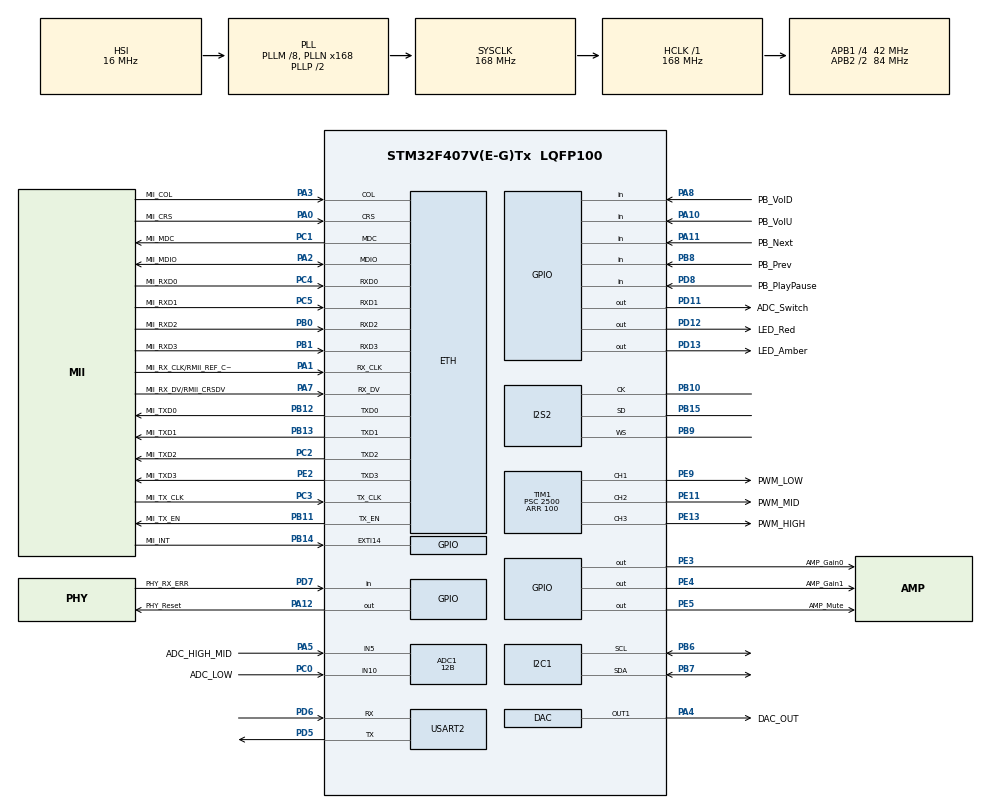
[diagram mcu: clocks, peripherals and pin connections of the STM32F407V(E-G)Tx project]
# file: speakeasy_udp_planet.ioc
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ADC1.Channel-10\#ChannelRegularConversion=ADC_CHANNEL_10
ADC1.Channel-9\#ChannelRegularConversion=ADC_CHANNEL_5
ADC1.ClockPrescaler=ADC_CLOCK_SYNC_PCLK_DIV4
ADC1.ContinuousConvMode=ENABLE
ADC1.DMAContinuousRequests=ENABLE
ADC1.DataAlign=ADC_DATAALIGN_RIGHT
ADC1.DiscontinuousConvMode=DISABLE
ADC1.EOCSelection=ADC_EOC_SINGLE_CONV
ADC1.EnableAnalogWatchDog=false
ADC1.ExternalTrigConv=ADC_SOFTWARE_START
ADC1.ExternalTrigConvEdge=ADC_EXTERNALTRIGCONVEDGE_NONE
ADC1.InjNumberOfConversion=0
ADC1.NbrOfConversion=2
ADC1.NbrOfConversionFlag=1
ADC1.Rank-10\#ChannelRegularConversion=2
ADC1.Rank-9\#ChannelRegularConversion=1
ADC1.Resolution=ADC_RESOLUTION_12B
ADC1.SamplingTime-10\#ChannelRegularConversion=ADC_SAMPLETIME_480CYCLES
ADC1.SamplingTime-9\#ChannelRegularConversion=ADC_SAMPLETIME_480CYCLES
ADC1.ScanConvMode=ENABLE
ADC1.master=1
Dma.ADC1.1.Direction=DMA_PERIPH_TO_MEMORY
Dma.ADC1.1.FIFOMode=DMA_FIFOMODE_DISABLE
Dma.ADC1.1.Instance=DMA2_Stream0
Dma.ADC1.1.MemDataAlignment=DMA_MDATAALIGN_HALFWORD
Dma.ADC1.1.MemInc=DMA_MINC_ENABLE
Dma.ADC1.1.Mode=DMA_CIRCULAR
Dma.ADC1.1.PeriphDataAlignment=DMA_PDATAALIGN_HALFWORD
Dma.ADC1.1.PeriphInc=DMA_PINC_DISABLE
Dma.ADC1.1.Priority=DMA_PRIORITY_LOW
Dma.Request0=SPI2_RX
Dma.Request1=ADC1
Dma.SPI2_RX.0.Direction=DMA_PERIPH_TO_MEMORY
Dma.SPI2_RX.0.FIFOMode=DMA_FIFOMODE_DISABLE
Dma.SPI2_RX.0.Instance=DMA1_Stream3
Dma.SPI2_RX.0.MemDataAlignment=DMA_MDATAALIGN_BYTE
Dma.SPI2_RX.0.MemInc=DMA_MINC_ENABLE
Dma.SPI2_RX.0.Mode=DMA_CIRCULAR
Dma.SPI2_RX.0.PeriphDataAlignment=DMA_PDATAALIGN_BYTE
Dma.SPI2_RX.0.PeriphInc=DMA_PINC_DISABLE
Dma.SPI2_RX.0.Priority=DMA_PRIORITY_LOW
ETH.MACAddr=00\:00\:00\:00\:00\:03
ETH.MediaInterface=ETH_MEDIA_INTERFACE_MII
I2S2.AudioFreq=I2S_AUDIOFREQ_32K
I2S2.CPOL=I2S_CPOL_HIGH
I2S2.ErrorAudioFreq=-0.35 %
I2S2.FullDuplexMode=I2S_FULLDUPLEXMODE_DISABLE
I2S2.Instance=SPI$Index
I2S2.Mode=I2S_MODE_MASTER_RX
I2S2.RealAudioFreq=31.887 KHz
I2S2.Standard=I2S_STANDARD_MSB
I2S2.VirtualMode=I2S_MODE_MASTER
LWIP.GATEWAY_ADDRESS=192.168.000.001
LWIP.IP_ADDRESS=192.168.000.003
LWIP.LWIP_DHCP=0
LWIP.LWIP_NETIF_LINK_CALLBACK=1
LWIP.LWIP_NETIF_STATUS_CALLBACK=1
LWIP.LWIP_TCP=0
LWIP.MEMP_NUM_UDP_PCB=2
LWIP.NETMASK_ADDRESS=255.255.255.000
LWIP.Version=v2.0.3_Cube
Mcu.Family=STM32F4
Mcu.Name=STM32F407V(E-G)Tx
Mcu.Package=LQFP100
NVIC.DMA1_Stream3_IRQn=true\:0\:0\:true\:false\:true\:false
NVIC.DMA2_Stream0_IRQn=true\:0\:0\:false\:false\:true\:false
NVIC.ETH_IRQn=true\:0\:0\:false\:false\:true\:true
NVIC.I2C1_ER_IRQn=true\:0\:0\:false\:false\:true\:true
NVIC.I2C1_EV_IRQn=true\:0\:0\:false\:false\:true\:true
NVIC.PriorityGroup=NVIC_PRIORITYGROUP_4
NVIC.SPI2_IRQn=true\:0\:0\:false\:false\:true\:true
NVIC.TIM2_IRQn=true\:0\:0\:false\:false\:true\:true
NVIC.TIM3_IRQn=true\:0\:0\:false\:false\:true\:true
NVIC.TIM4_IRQn=true\:0\:0\:false\:false\:true\:true
NVIC.USART2_IRQn=true\:0\:0\:false\:false\:true\:true
PA0-WKUP.GPIO_Label=MII_CRS
PA0-WKUP.Mode=MII
PA0-WKUP.Signal=ETH_CRS
PA1.GPIO_Label=MII_RX_CLK/RMII_REF_CLK
PA1.Mode=MII
PA1.Signal=ETH_RX_CLK
PA10.GPIO_Label=PB_VolU
PA10.Signal=GPIO_Input
PA11.GPIO_Label=PB_Next
PA11.Signal=GPIO_Input
PA12.GPIO_Label=PHY_Reset
PA12.PinState=GPIO_PIN_SET
PA12.Signal=GPIO_Output
PA13.Mode=Serial_Wire
PA13.Signal=SYS_JTMS-SWDIO
PA14.Mode=Serial_Wire
PA14.Signal=SYS_JTCK-SWCLK
PA2.GPIO_Label=MII_MDIO
PA2.GPIO_PuPd=GPIO_NOPULL
PA2.Mode=MII
PA2.Signal=ETH_MDIO
PA3.GPIO_Label=MII_COL
PA3.Mode=MII
PA3.Signal=ETH_COL
PA4.GPIO_Label=DAC_OUT
PA4.Signal=COMP_DAC1_group
PA5.GPIO_Label=ADC_HIGH_MID
PA5.Signal=ADCx_IN5
PA7.GPIO_Label=MII_RX_DV/RMII_CRSDV
PA7.Mode=MII
PA7.Signal=ETH_RX_DV
PA8.GPIO_Label=PB_VolD
PA8.Signal=GPIO_Input
PB0.GPIO_Label=MII_RXD2
PB0.Mode=MII
PB0.Signal=ETH_RXD2
PB1.GPIO_Label=MII_RXD3
PB1.Mode=MII
PB1.Signal=ETH_RXD3
PB10.Mode=Half_Duplex_Master
PB10.Signal=I2S2_CK
PB11.GPIO_Label=MII_TX_EN
PB11.Mode=MII
PB11.Signal=ETH_TX_EN
PB12.GPIO_Label=MII_TXD0
PB12.Mode=MII
PB12.Signal=ETH_TXD0
PB13.GPIO_Label=MII_TXD1
PB13.Mode=MII
PB13.Signal=ETH_TXD1
PB14.GPIO_Label=MII_INT
PB14.Signal=GPXTI14
PB15.Mode=Half_Duplex_Master
PB15.Signal=I2S2_SD
PB6.Mode=I2C
PB6.Signal=I2C1_SCL
PB7.Mode=I2C
PB7.Signal=I2C1_SDA
PB8.GPIO_Label=PB_Prev
PB8.Signal=GPIO_Input
PB9.Mode=Half_Duplex_Master
PB9.Signal=I2S2_WS
PC0.GPIO_Label=ADC_LOW
PC0.Signal=ADCx_IN10
PC1.GPIO_Label=MII_MDC
PC1.Mode=MII
PC1.Signal=ETH_MDC
PC2.GPIO_Label=MII_TXD2
PC2.Mode=MII
PC2.Signal=ETH_TXD2
PC3.GPIO_Label=MII_TX_CLK
PC3.Mode=MII
PC3.Signal=ETH_TX_CLK
PC4.GPIO_Label=MII_RXD0
PC4.Mode=MII
PC4.Signal=ETH_RXD0
PC5.GPIO_Label=MII_RXD1
PC5.Mode=MII
PC5.Signal=ETH_RXD1
PD11.GPIO_Label=ADC_Switch
PD11.Signal=GPIO_Output
PD12.GPIO_Label=LED_Red
PD12.Signal=GPIO_Output
PD13.GPIO_Label=LED_Amber
PD13.Signal=GPIO_Output
PD5.Mode=Asynchronous
PD5.Signal=USART2_TX
PD6.Mode=Asynchronous
PD6.Signal=USART2_RX
PD7.GPIO_Label=PHY_RX_ERR
PD7.Signal=GPIO_Input
PD8.GPIO_Label=PB_PlayPause
PD8.Signal=GPIO_Input
PE11.GPIO_Label=PWM_MID
PE11.Signal=S_TIM1_CH2
PE13.GPIO_Label=PWM_HIGH
PE13.Signal=S_TIM1_CH3
PE2.GPIO_Label=MII_TXD3
PE2.Mode=MII
PE2.Signal=ETH_TXD3
PE3.GPIO_Label=AMP_Gain0
PE3.Signal=GPIO_Output
PE4.GPIO_Label=AMP_Gain1
PE4.Signal=GPIO_Output
PE5.GPIO_Label=AMP_Mute
PE5.Signal=GPIO_Output
PE9.GPIO_Label=PWM_LOW
PE9.Signal=S_TIM1_CH1
ProjectManager.HeapSize=0x200
ProjectManager.StackSize=0x400
ProjectManager.TargetToolchain=SW4STM32
RCC.48MHZClocksFreq_Value=84000000
RCC.AHBFreq_Value=168000000
RCC.APB1CLKDivider=RCC_HCLK_DIV4
RCC.APB1Freq_Value=42000000
RCC.APB1TimFreq_Value=84000000
RCC.APB2CLKDivider=RCC_HCLK_DIV2
RCC.APB2Freq_Value=84000000
RCC.APB2TimFreq_Value=168000000
RCC.CortexFreq_Value=168000000
RCC.HCLKFreq_Value=168000000
RCC.HSE_VALUE=8000000
RCC.HSI_VALUE=16000000
RCC.LSE_VALUE=32768
RCC.PLLI2SN=50
RCC.PLLM=8
RCC.PLLN=168
RCC.SYSCLKFreq_VALUE=168000000
RCC.SYSCLKSource=RCC_SYSCLKSOURCE_PLLCLK
RCC.VCOOutputFreq_Value=336000000
SH.ADCx_IN10.0=ADC1_IN10,IN10
SH.ADCx_IN5.0=ADC1_IN5,IN5
SH.COMP_DAC1_group.0=DAC_OUT1,DAC_OUT1
SH.S_TIM1_CH1.0=TIM1_CH1,PWM Generation1 CH1
SH.S_TIM1_CH2.0=TIM1_CH2,PWM Generation2 CH2
SH.S_TIM1_CH3.0=TIM1_CH3,PWM Generation3 CH3
TIM1.Channel-PWM\ Generation1\ CH1=TIM_CHANNEL_1
TIM1.Channel-PWM\ Generation2\ CH2=TIM_CHANNEL_2
TIM1.Channel-PWM\ Generation3\ CH3=TIM_CHANNEL_3
TIM1.Period=100
TIM1.Prescaler=2500
TIM2.Period=1
TIM2.Prescaler=956
TIM3.Period=88
TIM3.Prescaler=953
TIM4.Period=1
TIM4.Prescaler=2618
USART2.VirtualMode=VM_ASYNC
VP_LWIP_VS_Enabled.Mode=Enabled
VP_TIM1_VS_ClockSourceINT.Mode=Internal
VP_TIM2_VS_ClockSourceINT.Mode=Internal
VP_TIM3_VS_ClockSourceINT.Mode=Internal
VP_TIM4_VS_ClockSourceINT.Mode=Internal
board=custom

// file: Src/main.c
/**
  ******************************************************************************
  * @file           : main.c
  * @brief          : Main program body
  ******************************************************************************
  * This notice applies to any and all portions of this file
  * that are not between comment pairs USER CODE BEGIN and
  * USER CODE END. Other portions of this file, whether
  * inserted by the user or by software development tools
  * are owned by their respective copyright owners.
  *
  * Copyright (c) 2018 STMicroelectronics International N.V.
  * All rights reserved.
  *
  * Redistribution and use in source and binary forms, with or without
  * modification, are permitted, provided that the following conditions are met:
  *
  * 1. Redistribution of source code must retain the above copyright notice,
  *    this list of conditions and the following disclaimer.
  * 2. Redistributions in binary form must reproduce the above copyright notice,
  *    this list of conditions and the following disclaimer in the documentation
  *    and/or other materials provided with the distribution.
  * 3. Neither the name of STMicroelectronics nor the names of other
  *    contributors to this software may be used to endorse or promote products
  *    derived from this software without specific written permission.
  * 4. This software, including modifications and/or derivative works of this
  *    software, must execute solely and exclusively on microcontroller or
  *    microprocessor devices manufactured by or for STMicroelectronics.
  * 5. Redistribution and use of this software other than as permitted under
  *    this license is void and will automatically terminate your rights under
  *    this license.
  *
  * THIS SOFTWARE IS PROVIDED BY STMICROELECTRONICS AND CONTRIBUTORS "AS IS"
  * AND ANY EXPRESS, IMPLIED OR STATUTORY WARRANTIES, INCLUDING, BUT NOT
  * LIMITED TO, THE IMPLIED WARRANTIES OF MERCHANTABILITY, FITNESS FOR A
  * PARTICULAR PURPOSE AND NON-INFRINGEMENT OF THIRD PARTY INTELLECTUAL PROPERTY
  * RIGHTS ARE DISCLAIMED TO THE FULLEST EXTENT PERMITTED BY LAW. IN NO EVENT
  * SHALL STMICROELECTRONICS OR CONTRIBUTORS BE LIABLE FOR ANY DIRECT, INDIRECT,
  * INCIDENTAL, SPECIAL, EXEMPLARY, OR CONSEQUENTIAL DAMAGES (INCLUDING, BUT NOT
  * LIMITED TO, PROCUREMENT OF SUBSTITUTE GOODS OR SERVICES; LOSS OF USE, DATA,
  * OR PROFITS; OR BUSINESS INTERRUPTION) HOWEVER CAUSED AND ON ANY THEORY OF
  * LIABILITY, WHETHER IN CONTRACT, STRICT LIABILITY, OR TORT (INCLUDING
  * NEGLIGENCE OR OTHERWISE) ARISING IN ANY WAY OUT OF THE USE OF THIS SOFTWARE,
  * EVEN IF ADVISED OF THE POSSIBILITY OF SUCH DAMAGE.
  *
  ******************************************************************************
  */
#include "main.h"
#include "stm32f4xx_hal.h"
#include "lwip.h"

/* USER CODE BEGIN Includes */
#include "udp_planet.h"
/* USER CODE END Includes */

ADC_HandleTypeDef hadc1;
DMA_HandleTypeDef hdma_adc1;

DAC_HandleTypeDef hdac;

I2C_HandleTypeDef hi2c1;

I2S_HandleTypeDef hi2s2;
DMA_HandleTypeDef hdma_spi2_rx;

TIM_HandleTypeDef htim1;
TIM_HandleTypeDef htim2;
TIM_HandleTypeDef htim3;
TIM_HandleTypeDef htim4;

UART_HandleTypeDef huart2;

/* USER CODE BEGIN PV */
/* Private variables ---------------------------------------------------------*/

// timers
uint32_t msCount = 0;
uint8_t started = 0;

// button debounce
uint8_t buttonPress[5] = {0, 0, 0, 0, 0};
uint8_t buttonPrev[5] = {0, 0, 0, 0, 0};

// ethernet
extern struct netif gnetif;
uint8_t rxDone = 0;
uint16_t playbackControl = NOP;

// audio
uint8_t playbackStarted = 0;
uint8_t zeroReceived = 0;
uint8_t bufferReceived[10];
uint8_t playing = 1;
uint16_t * rxData;
uint16_t rxBuffer[10 * BUFF_SIZE];
uint16_t rxIndex = 0;
uint16_t playbackIndex = 0;
uint16_t muteCount = 0;
uint16_t muteTrue = 1;

// begin ryan
// lights
int convertLow = 0;
int redOffset = 450;
int greenOffset = 800;
int blueOffset = 300;
uint16_t adcData[2];
/* USER CODE END PV */

void SystemClock_Config(void);
static void MX_GPIO_Init(void);
static void MX_DMA_Init(void);
static void MX_DAC_Init(void);
static void MX_I2C1_Init(void);
static void MX_I2S2_Init(void);
static void MX_TIM1_Init(void);
static void MX_USART2_UART_Init(void);
static void MX_TIM2_Init(void);
static void MX_TIM3_Init(void);
static void MX_TIM4_Init(void);
static void MX_ADC1_Init(void);

void HAL_TIM_MspPostInit(TIM_HandleTypeDef *htim);

/* USER CODE BEGIN PFP */
/* Private function prototypes -----------------------------------------------*/
void debounceButton();
void checkButtonPress();
void checkRxData();
void updatePWM();
/* USER CODE END PFP */

/* USER CODE BEGIN 0 */
void HAL_TIM_PeriodElapsedCallback(TIM_HandleTypeDef * htim) {
	if (htim->Instance == TIM2) {
		uint16_t checkIndex = playbackIndex / BUFF_SIZE;
		if (checkIndex < 6) {
			checkIndex += 10;
		}
		if (playbackStarted) {
			if (bufferReceived[checkIndex - 6] && playbackStarted) {
				// DAC output
				if (rxBuffer[playbackIndex] > 500) {	// fix this or check it's still needed, maybe remove reset
					if (rxBuffer[playbackIndex] > 2100) {
						muteTrue = 0;
					}
					HAL_DAC_SetValue(&hdac, DAC_CHANNEL_1, DAC_ALIGN_12B_R, rxBuffer[playbackIndex++]);
				}
				else {
					playbackIndex++;
				}
				uint16_t resetIndex = playbackIndex;
				if (resetIndex < 2) {
					resetIndex += 10*BUFF_SIZE;
				}
				rxBuffer[resetIndex - 2] = 0x00;
				if (playbackIndex % BUFF_SIZE == 0) {
					// playback done with packet, so mark as not received
					bufferReceived[(playbackIndex - 1) / BUFF_SIZE]	= 0;
					if (muteTrue) {
						muteCount++;
					}
					else {
						muteCount = 0;
					}
					muteTrue = 1;
					HAL_GPIO_WritePin(AMP_Mute_GPIO_Port, AMP_Mute_Pin, muteCount < 5);
				}
				if (playbackIndex == 10 * BUFF_SIZE) {
					playbackIndex = 0;
				}
			}
		}
	}
	else if (htim->Instance == TIM3) {
		debounceButton();
		if (msCount % 50 == 0) {
			updatePWM();
		}
		if (++msCount == 1000) {
			msCount = 0;
			if (!started) {
				started = 1;
				HAL_GPIO_WritePin(LED_Red_GPIO_Port, LED_Red_Pin, 0);
				HAL_GPIO_WritePin(LED_Amber_GPIO_Port, LED_Amber_Pin, 0);
			}
		}
	}
}

void debounceButton() {
	uint8_t buttonIndex = msCount % 5;
	uint8_t buttonCurrent;
	switch (buttonIndex) {
		case 0:
			buttonCurrent = HAL_GPIO_ReadPin(PB_VolD_GPIO_Port, PB_VolD_Pin);
			break;
		case 1:
			buttonCurrent = HAL_GPIO_ReadPin(PB_Prev_GPIO_Port, PB_Prev_Pin);
			break;
		case 2:
			buttonCurrent = HAL_GPIO_ReadPin(PB_PlayPause_GPIO_Port, PB_PlayPause_Pin);
			break;
		case 3:
			buttonCurrent = HAL_GPIO_ReadPin(PB_Next_GPIO_Port, PB_Next_Pin);
			break;
		case 4:
			buttonCurrent = HAL_GPIO_ReadPin(PB_VolU_GPIO_Port, PB_VolU_Pin);
			break;
		default:
			buttonCurrent = 0;
			break;
	}
	buttonPress[buttonIndex] = !buttonPrev[buttonIndex] && buttonCurrent;
	buttonPrev[buttonIndex] = buttonCurrent;
}

void checkButtonPress() {
	for (uint8_t i = 0; i < 5; i++) {
	  if (buttonPress[i]) {
		  switch (i) {
			  case 0:
				  playbackControl = Vol_D;
				  break;
			  case 1:
				  playbackControl = Prev;
				  break;
			  case 2:	//Play Pause
				  playing ^= 1;
				  playbackControl = Pause - playing;
//				  HAL_GPIO_TogglePin(AMP_Mute_GPIO_Port, AMP_Mute_Pin);
				  break;
			  case 3:
				  playbackControl = Next;
				  break;
			  case 4:
				  playbackControl = Vol_U;
				  break;
			  default:
				  break;
		  }
		  buttonPress[i] = 0;
	  }
	}
}

void checkRxData() {
	if (rxDone) {
		rxDone = 0;
		if (zeroReceived || rxData[0] == 0) {
			zeroReceived = 1;
			if (rxData[1] == NOP) {	// playback controls
				switch (rxData[0]) {
					case Vol_D:
						break;
					case Prev:
						break;
					case Play:
						playing = 1;
						break;
					case Pause:
						playing = 0;
						break;
					case Next:
						break;
					case Vol_U:
						break;
					case Gain0:
						HAL_GPIO_WritePin(AMP_Gain0_GPIO_Port, AMP_Gain0_Pin, 0);
						HAL_GPIO_WritePin(AMP_Gain1_GPIO_Port, AMP_Gain1_Pin, 0);
						HAL_GPIO_WritePin(LED_Amber_GPIO_Port,LED_Amber_Pin, 0);
						HAL_GPIO_WritePin(LED_Red_GPIO_Port,LED_Red_Pin, 0);
						break;
					case Gain1:
						HAL_GPIO_WritePin(AMP_Gain0_GPIO_Port, AMP_Gain0_Pin, 1);
						HAL_GPIO_WritePin(AMP_Gain1_GPIO_Port, AMP_Gain1_Pin, 0);
						HAL_GPIO_WritePin(LED_Amber_GPIO_Port,LED_Amber_Pin, 1);
						HAL_GPIO_WritePin(LED_Red_GPIO_Port,LED_Red_Pin, 0);
						break;
					case Gain2:
						HAL_GPIO_WritePin(AMP_Gain0_GPIO_Port, AMP_Gain0_Pin, 0);
						HAL_GPIO_WritePin(AMP_Gain1_GPIO_Port, AMP_Gain1_Pin, 1);
						HAL_GPIO_WritePin(LED_Amber_GPIO_Port,LED_Amber_Pin, 0);
						HAL_GPIO_WritePin(LED_Red_GPIO_Port,LED_Red_Pin, 1);
						break;
					case Gain3:
						HAL_GPIO_WritePin(AMP_Gain0_GPIO_Port, AMP_Gain0_Pin, 1);
						HAL_GPIO_WritePin(AMP_Gain1_GPIO_Port, AMP_Gain1_Pin, 1);
						HAL_GPIO_WritePin(LED_Amber_GPIO_Port,LED_Amber_Pin, 1);
						HAL_GPIO_WritePin(LED_Red_GPIO_Port,LED_Red_Pin, 1);
						break;
					default:
						break;
				}
//				HAL_GPIO_WritePin(AMP_Mute_GPIO_Port, AMP_Mute_Pin, playing);
			}
			else {	// unpack audio data
				rxIndex = rxData[0] * BUFF_SIZE;
				bufferReceived[rxData[0]] = 1;
				memcpy(&rxBuffer[rxIndex], &rxData[1], BUFF_SIZE * sizeof(uint16_t));
				if (!playbackStarted && rxIndex == 6 * BUFF_SIZE) {
					playbackStarted = 1;
				}
			}
		}
	}
}

void updatePWM(){
    int dataRed = adcData[1];
    int dataGreenBlue = adcData[0];
    if(convertLow){
        if(dataGreenBlue < blueOffset){
            dataGreenBlue = 0;
        }else dataGreenBlue -= blueOffset;

        dataGreenBlue /= 20;
    }else{
        if(dataGreenBlue < greenOffset){
            dataGreenBlue = 0;
        }else dataGreenBlue -= greenOffset;
        dataGreenBlue /= 10;
    }
    if(dataRed < redOffset){
        dataRed = 0;
    }else dataRed -= redOffset;
    dataRed/=30;
    __HAL_TIM_SET_COMPARE(&htim1,TIM_CHANNEL_3,dataRed);
    if(convertLow){
        HAL_GPIO_WritePin(ADC_Switch_GPIO_Port,ADC_Switch_Pin,1);
        __HAL_TIM_SET_COMPARE(&htim1,TIM_CHANNEL_2,dataGreenBlue);
    }else{
        HAL_GPIO_WritePin(ADC_Switch_GPIO_Port,ADC_Switch_Pin,0);
        __HAL_TIM_SET_COMPARE(&htim1,TIM_CHANNEL_1,dataGreenBlue);
    }
    convertLow = !convertLow;
}
/* USER CODE END 0 */

int main(void)
{

  /* MCU Configuration----------------------------------------------------------*/

  /* Reset of all peripherals, Initializes the Flash interface and the Systick. */
  HAL_Init();

  /* Configure the system clock */
  SystemClock_Config();

  /* Initialize all configured peripherals */
  MX_GPIO_Init();
  MX_DMA_Init();
  MX_LWIP_Init();
  MX_DAC_Init();
  MX_I2C1_Init();
  MX_I2S2_Init();
  MX_TIM1_Init();
  MX_USART2_UART_Init();
  MX_TIM2_Init();
  MX_TIM3_Init();
  MX_TIM4_Init();
  MX_ADC1_Init();
  /* USER CODE BEGIN 2 */
	err_t errout = ethernetif_init(&gnetif);
	HAL_GPIO_WritePin(LED_Red_GPIO_Port, LED_Red_Pin, errout != ERR_OK);
	HAL_GPIO_WritePin(LED_Amber_GPIO_Port, LED_Amber_Pin, netif_is_up(&gnetif));
	udp_receive_init();
//	udp_scratch_connect();
	HAL_DAC_Start(&hdac, DAC_CHANNEL_1);
	HAL_TIM_PWM_Start(&htim1, TIM_CHANNEL_1);
	HAL_TIM_PWM_Start(&htim1, TIM_CHANNEL_2);
	HAL_TIM_PWM_Start(&htim1, TIM_CHANNEL_3);
	HAL_TIM_Base_Start_IT(&htim2);
	HAL_TIM_Base_Start_IT(&htim3);
	HAL_GPIO_WritePin(AMP_Mute_GPIO_Port, AMP_Mute_Pin, 1);
	HAL_GPIO_WritePin(AMP_Gain0_GPIO_Port, AMP_Gain0_Pin, 0);
	HAL_GPIO_WritePin(AMP_Gain1_GPIO_Port, AMP_Gain1_Pin, 0);
	HAL_ADC_Start_DMA(&hadc1, adcData, 2);
  /* USER CODE END 2 */

  /* Infinite loop */
  /* USER CODE BEGIN WHILE */
	while (1)
	{
		ethernetif_set_link(&gnetif);
		ethernetif_input(&gnetif);
		checkButtonPress();
		checkRxData();
//		uint16_t _tmpIndex = playbackIndex;
//		if (_tmpIndex < rxIndex) {
//			_tmpIndex += BUFF_SIZE * 10;
//		}
//		HAL_GPIO_WritePin(ADC_Switch_GPIO_Port, ADC_Switch_Pin, _tmpIndex - rxIndex > BUFF_SIZE);
  /* USER CODE END WHILE */

	}

}

void SystemClock_Config(void)
{

  RCC_OscInitTypeDef RCC_OscInitStruct;
  RCC_ClkInitTypeDef RCC_ClkInitStruct;
  RCC_PeriphCLKInitTypeDef PeriphClkInitStruct;

    /**Configure the main internal regulator output voltage
    */
  __HAL_RCC_PWR_CLK_ENABLE();

  __HAL_PWR_VOLTAGESCALING_CONFIG(PWR_REGULATOR_VOLTAGE_SCALE1);

    /**Initializes the CPU, AHB and APB busses clocks
    */
  RCC_OscInitStruct.OscillatorType = RCC_OSCILLATORTYPE_HSI;
  RCC_OscInitStruct.HSIState = RCC_HSI_ON;
  RCC_OscInitStruct.HSICalibrationValue = 16;
  RCC_OscInitStruct.PLL.PLLState = RCC_PLL_ON;
  RCC_OscInitStruct.PLL.PLLSource = RCC_PLLSOURCE_HSI;
  RCC_OscInitStruct.PLL.PLLM = 8;
  RCC_OscInitStruct.PLL.PLLN = 168;
  RCC_OscInitStruct.PLL.PLLP = RCC_PLLP_DIV2;
  RCC_OscInitStruct.PLL.PLLQ = 4;
  if (HAL_RCC_OscConfig(&RCC_OscInitStruct) != HAL_OK)
  {
    _Error_Handler(__FILE__, __LINE__);
  }

    /**Initializes the CPU, AHB and APB busses clocks
    */
  RCC_ClkInitStruct.ClockType = RCC_CLOCKTYPE_HCLK|RCC_CLOCKTYPE_SYSCLK
                              |RCC_CLOCKTYPE_PCLK1|RCC_CLOCKTYPE_PCLK2;
  RCC_ClkInitStruct.SYSCLKSource = RCC_SYSCLKSOURCE_PLLCLK;
  RCC_ClkInitStruct.AHBCLKDivider = RCC_SYSCLK_DIV1;
  RCC_ClkInitStruct.APB1CLKDivider = RCC_HCLK_DIV4;
  RCC_ClkInitStruct.APB2CLKDivider = RCC_HCLK_DIV2;

  if (HAL_RCC_ClockConfig(&RCC_ClkInitStruct, FLASH_LATENCY_5) != HAL_OK)
  {
    _Error_Handler(__FILE__, __LINE__);
  }

  PeriphClkInitStruct.PeriphClockSelection = RCC_PERIPHCLK_I2S;
  PeriphClkInitStruct.PLLI2S.PLLI2SN = 50;
  PeriphClkInitStruct.PLLI2S.PLLI2SR = 2;
  if (HAL_RCCEx_PeriphCLKConfig(&PeriphClkInitStruct) != HAL_OK)
  {
    _Error_Handler(__FILE__, __LINE__);
  }

    /**Configure the Systick interrupt time
    */
  HAL_SYSTICK_Config(HAL_RCC_GetHCLKFreq()/1000);

    /**Configure the Systick
    */
  HAL_SYSTICK_CLKSourceConfig(SYSTICK_CLKSOURCE_HCLK);

  /* SysTick_IRQn interrupt configuration */
  HAL_NVIC_SetPriority(SysTick_IRQn, 0, 0);
}

/* ADC1 init function */
static void MX_ADC1_Init(void)
{

  ADC_ChannelConfTypeDef sConfig;

    /**Configure the global features of the ADC (Clock, Resolution, Data Alignment and number of conversion)
    */
  hadc1.Instance = ADC1;
  hadc1.Init.ClockPrescaler = ADC_CLOCK_SYNC_PCLK_DIV4;
  hadc1.Init.Resolution = ADC_RESOLUTION_12B;
  hadc1.Init.ScanConvMode = ENABLE;
  hadc1.Init.ContinuousConvMode = ENABLE;
  hadc1.Init.DiscontinuousConvMode = DISABLE;
  hadc1.Init.ExternalTrigConvEdge = ADC_EXTERNALTRIGCONVEDGE_NONE;
  hadc1.Init.ExternalTrigConv = ADC_SOFTWARE_START;
  hadc1.Init.DataAlign = ADC_DATAALIGN_RIGHT;
  hadc1.Init.NbrOfConversion = 2;
  hadc1.Init.DMAContinuousRequests = ENABLE;
  hadc1.Init.EOCSelection = ADC_EOC_SINGLE_CONV;
  if (HAL_ADC_Init(&hadc1) != HAL_OK)
  {
    _Error_Handler(__FILE__, __LINE__);
  }

    /**Configure for the selected ADC regular channel its corresponding rank in the sequencer and its sample time.
    */
  sConfig.Channel = ADC_CHANNEL_5;
  sConfig.Rank = 1;
  sConfig.SamplingTime = ADC_SAMPLETIME_480CYCLES;
  if (HAL_ADC_ConfigChannel(&hadc1, &sConfig) != HAL_OK)
  {
    _Error_Handler(__FILE__, __LINE__);
  }

    /**Configure for the selected ADC regular channel its corresponding rank in the sequencer and its sample time.
    */
  sConfig.Channel = ADC_CHANNEL_10;
  sConfig.Rank = 2;
  if (HAL_ADC_ConfigChannel(&hadc1, &sConfig) != HAL_OK)
  {
    _Error_Handler(__FILE__, __LINE__);
  }

}

/* DAC init function */
static void MX_DAC_Init(void)
{

  DAC_ChannelConfTypeDef sConfig;

    /**DAC Initialization
    */
  hdac.Instance = DAC;
  if (HAL_DAC_Init(&hdac) != HAL_OK)
  {
    _Error_Handler(__FILE__, __LINE__);
  }

    /**DAC channel OUT1 config
    */
  sConfig.DAC_Trigger = DAC_TRIGGER_NONE;
  sConfig.DAC_OutputBuffer = DAC_OUTPUTBUFFER_ENABLE;
  if (HAL_DAC_ConfigChannel(&hdac, &sConfig, DAC_CHANNEL_1) != HAL_OK)
  {
    _Error_Handler(__FILE__, __LINE__);
  }

}

/* I2C1 init function */
static void MX_I2C1_Init(void)
{

  hi2c1.Instance = I2C1;
  hi2c1.Init.ClockSpeed = 100000;
  hi2c1.Init.DutyCycle = I2C_DUTYCYCLE_2;
  hi2c1.Init.OwnAddress1 = 0;
  hi2c1.Init.AddressingMode = I2C_ADDRESSINGMODE_7BIT;
  hi2c1.Init.DualAddressMode = I2C_DUALADDRESS_DISABLE;
  hi2c1.Init.OwnAddress2 = 0;
  hi2c1.Init.GeneralCallMode = I2C_GENERALCALL_DISABLE;
  hi2c1.Init.NoStretchMode = I2C_NOSTRETCH_DISABLE;
  if (HAL_I2C_Init(&hi2c1) != HAL_OK)
  {
    _Error_Handler(__FILE__, __LINE__);
  }

}

/* I2S2 init function */
static void MX_I2S2_Init(void)
{

  hi2s2.Instance = SPI2;
  hi2s2.Init.Mode = I2S_MODE_MASTER_RX;
  hi2s2.Init.Standard = I2S_STANDARD_MSB;
  hi2s2.Init.DataFormat = I2S_DATAFORMAT_16B;
  hi2s2.Init.MCLKOutput = I2S_MCLKOUTPUT_DISABLE;
  hi2s2.Init.AudioFreq = I2S_AUDIOFREQ_32K;
  hi2s2.Init.CPOL = I2S_CPOL_HIGH;
  hi2s2.Init.ClockSource = I2S_CLOCK_PLL;
  hi2s2.Init.FullDuplexMode = I2S_FULLDUPLEXMODE_DISABLE;
  if (HAL_I2S_Init(&hi2s2) != HAL_OK)
  {
    _Error_Handler(__FILE__, __LINE__);
  }

}

/* TIM1 init function */
static void MX_TIM1_Init(void)
{

  TIM_ClockConfigTypeDef sClockSourceConfig;
  TIM_MasterConfigTypeDef sMasterConfig;
  TIM_OC_InitTypeDef sConfigOC;
  TIM_BreakDeadTimeConfigTypeDef sBreakDeadTimeConfig;

  htim1.Instance = TIM1;
  htim1.Init.Prescaler = 2500;
  htim1.Init.CounterMode = TIM_COUNTERMODE_UP;
  htim1.Init.Period = 100;
  htim1.Init.ClockDivision = TIM_CLOCKDIVISION_DIV1;
  htim1.Init.RepetitionCounter = 0;
  if (HAL_TIM_Base_Init(&htim1) != HAL_OK)
  {
    _Error_Handler(__FILE__, __LINE__);
  }

  sClockSourceConfig.ClockSource = TIM_CLOCKSOURCE_INTERNAL;
  if (HAL_TIM_ConfigClockSource(&htim1, &sClockSourceConfig) != HAL_OK)
  {
    _Error_Handler(__FILE__, __LINE__);
  }

  if (HAL_TIM_PWM_Init(&htim1) != HAL_OK)
  {
    _Error_Handler(__FILE__, __LINE__);
  }

  sMasterConfig.MasterOutputTrigger = TIM_TRGO_RESET;
  sMasterConfig.MasterSlaveMode = TIM_MASTERSLAVEMODE_DISABLE;
  if (HAL_TIMEx_MasterConfigSynchronization(&htim1, &sMasterConfig) != HAL_OK)
  {
    _Error_Handler(__FILE__, __LINE__);
  }

  sConfigOC.OCMode = TIM_OCMODE_PWM1;
  sConfigOC.Pulse = 0;
  sConfigOC.OCPolarity = TIM_OCPOLARITY_HIGH;
  sConfigOC.OCNPolarity = TIM_OCNPOLARITY_HIGH;
  sConfigOC.OCFastMode = TIM_OCFAST_DISABLE;
  sConfigOC.OCIdleState = TIM_OCIDLESTATE_RESET;
  sConfigOC.OCNIdleState = TIM_OCNIDLESTATE_RESET;
  if (HAL_TIM_PWM_ConfigChannel(&htim1, &sConfigOC, TIM_CHANNEL_1) != HAL_OK)
  {
    _Error_Handler(__FILE__, __LINE__);
  }

  if (HAL_TIM_PWM_ConfigChannel(&htim1, &sConfigOC, TIM_CHANNEL_2) != HAL_OK)
  {
    _Error_Handler(__FILE__, __LINE__);
  }

  if (HAL_TIM_PWM_ConfigChannel(&htim1, &sConfigOC, TIM_CHANNEL_3) != HAL_OK)
  {
    _Error_Handler(__FILE__, __LINE__);
  }

  sBreakDeadTimeConfig.OffStateRunMode = TIM_OSSR_DISABLE;
  sBreakDeadTimeConfig.OffStateIDLEMode = TIM_OSSI_DISABLE;
  sBreakDeadTimeConfig.LockLevel = TIM_LOCKLEVEL_OFF;
  sBreakDeadTimeConfig.DeadTime = 0;
  sBreakDeadTimeConfig.BreakState = TIM_BREAK_DISABLE;
  sBreakDeadTimeConfig.BreakPolarity = TIM_BREAKPOLARITY_HIGH;
  sBreakDeadTimeConfig.AutomaticOutput = TIM_AUTOMATICOUTPUT_DISABLE;
  if (HAL_TIMEx_ConfigBreakDeadTime(&htim1, &sBreakDeadTimeConfig) != HAL_OK)
  {
    _Error_Handler(__FILE__, __LINE__);
  }

  HAL_TIM_MspPostInit(&htim1);

}

/* TIM2 init function */
static void MX_TIM2_Init(void)
{

  TIM_ClockConfigTypeDef sClockSourceConfig;
  TIM_MasterConfigTypeDef sMasterConfig;

  htim2.Instance = TIM2;
  htim2.Init.Prescaler = 956;
//  htim2.Init.Prescaler = 950;
  htim2.Init.CounterMode = TIM_COUNTERMODE_UP;
  htim2.Init.Period = 1;
  htim2.Init.ClockDivision = TIM_CLOCKDIVISION_DIV1;
  if (HAL_TIM_Base_Init(&htim2) != HAL_OK)
  {
    _Error_Handler(__FILE__, __LINE__);
  }

  sClockSourceConfig.ClockSource = TIM_CLOCKSOURCE_INTERNAL;
  if (HAL_TIM_ConfigClockSource(&htim2, &sClockSourceConfig) != HAL_OK)
  {
    _Error_Handler(__FILE__, __LINE__);
  }

  sMasterConfig.MasterOutputTrigger = TIM_TRGO_RESET;
  sMasterConfig.MasterSlaveMode = TIM_MASTERSLAVEMODE_DISABLE;
  if (HAL_TIMEx_MasterConfigSynchronization(&htim2, &sMasterConfig) != HAL_OK)
  {
    _Error_Handler(__FILE__, __LINE__);
  }

}

/* TIM3 init function */
static void MX_TIM3_Init(void)
{

  TIM_ClockConfigTypeDef sClockSourceConfig;
  TIM_MasterConfigTypeDef sMasterConfig;

  htim3.Instance = TIM3;
  htim3.Init.Prescaler = 953;
  htim3.Init.CounterMode = TIM_COUNTERMODE_UP;
  htim3.Init.Period = 88;
  htim3.Init.ClockDivision = TIM_CLOCKDIVISION_DIV1;
  if (HAL_TIM_Base_Init(&htim3) != HAL_OK)
  {
    _Error_Handler(__FILE__, __LINE__);
  }

  sClockSourceConfig.ClockSource = TIM_CLOCKSOURCE_INTERNAL;
  if (HAL_TIM_ConfigClockSource(&htim3, &sClockSourceConfig) != HAL_OK)
  {
    _Error_Handler(__FILE__, __LINE__);
  }

  sMasterConfig.MasterOutputTrigger = TIM_TRGO_RESET;
  sMasterConfig.MasterSlaveMode = TIM_MASTERSLAVEMODE_DISABLE;
  if (HAL_TIMEx_MasterConfigSynchronization(&htim3, &sMasterConfig) != HAL_OK)
  {
    _Error_Handler(__FILE__, __LINE__);
  }

}

/* TIM4 init function */
static void MX_TIM4_Init(void)
{

  TIM_ClockConfigTypeDef sClockSourceConfig;
  TIM_MasterConfigTypeDef sMasterConfig;

  htim4.Instance = TIM4;
  htim4.Init.Prescaler = 2618;
  htim4.Init.CounterMode = TIM_COUNTERMODE_UP;
  htim4.Init.Period = 1;
  htim4.Init.ClockDivision = TIM_CLOCKDIVISION_DIV1;
  if (HAL_TIM_Base_Init(&htim4) != HAL_OK)
  {
    _Error_Handler(__FILE__, __LINE__);
  }

  sClockSourceConfig.ClockSource = TIM_CLOCKSOURCE_INTERNAL;
  if (HAL_TIM_ConfigClockSource(&htim4, &sClockSourceConfig) != HAL_OK)
  {
    _Error_Handler(__FILE__, __LINE__);
  }

  sMasterConfig.MasterOutputTrigger = TIM_TRGO_RESET;
  sMasterConfig.MasterSlaveMode = TIM_MASTERSLAVEMODE_DISABLE;
  if (HAL_TIMEx_MasterConfigSynchronization(&htim4, &sMasterConfig) != HAL_OK)
  {
    _Error_Handler(__FILE__, __LINE__);
  }

}

/* USART2 init function */
static void MX_USART2_UART_Init(void)
{

  huart2.Instance = USART2;
  huart2.Init.BaudRate = 115200;
  huart2.Init.WordLength = UART_WORDLENGTH_8B;
  huart2.Init.StopBits = UART_STOPBITS_1;
  huart2.Init.Parity = UART_PARITY_NONE;
  huart2.Init.Mode = UART_MODE_TX_RX;
  huart2.Init.HwFlowCtl = UART_HWCONTROL_NONE;
  huart2.Init.OverSampling = UART_OVERSAMPLING_16;
  if (HAL_UART_Init(&huart2) != HAL_OK)
  {
    _Error_Handler(__FILE__, __LINE__);
  }

}

static void MX_DMA_Init(void)
{
  /* DMA controller clock enable */
  __HAL_RCC_DMA1_CLK_ENABLE();
  __HAL_RCC_DMA2_CLK_ENABLE();

  /* DMA interrupt init */
  /* DMA1_Stream3_IRQn interrupt configuration */
  HAL_NVIC_SetPriority(DMA1_Stream3_IRQn, 0, 0);
  HAL_NVIC_EnableIRQ(DMA1_Stream3_IRQn);
  /* DMA2_Stream0_IRQn interrupt configuration */
  HAL_NVIC_SetPriority(DMA2_Stream0_IRQn, 0, 0);
  HAL_NVIC_EnableIRQ(DMA2_Stream0_IRQn);

}

/** Configure pins as
        * Analog
        * Input
        * Output
        * EVENT_OUT
        * EXTI
*/
static void MX_GPIO_Init(void)
{

  GPIO_InitTypeDef GPIO_InitStruct;

  /* GPIO Ports Clock Enable */
  __HAL_RCC_GPIOE_CLK_ENABLE();
  __HAL_RCC_GPIOC_CLK_ENABLE();
  __HAL_RCC_GPIOA_CLK_ENABLE();
  __HAL_RCC_GPIOB_CLK_ENABLE();
  __HAL_RCC_GPIOD_CLK_ENABLE();

  /*Configure GPIO pin Output Level */
  HAL_GPIO_WritePin(GPIOE, AMP_Gain0_Pin|AMP_Gain1_Pin|AMP_Mute_Pin, GPIO_PIN_RESET);

  /*Configure GPIO pin Output Level */
  HAL_GPIO_WritePin(GPIOD, ADC_Switch_Pin|LED_Red_Pin|LED_Amber_Pin, GPIO_PIN_RESET);

  /*Configure GPIO pin Output Level */
  HAL_GPIO_WritePin(PHY_Reset_GPIO_Port, PHY_Reset_Pin, GPIO_PIN_SET);

  /*Configure GPIO pins : AMP_Gain0_Pin AMP_Gain1_Pin AMP_Mute_Pin */
  GPIO_InitStruct.Pin = AMP_Gain0_Pin|AMP_Gain1_Pin|AMP_Mute_Pin;
  GPIO_InitStruct.Mode = GPIO_MODE_OUTPUT_PP;
  GPIO_InitStruct.Pull = GPIO_NOPULL;
  GPIO_InitStruct.Speed = GPIO_SPEED_FREQ_LOW;
  HAL_GPIO_Init(GPIOE, &GPIO_InitStruct);

  /*Configure GPIO pin : MII_INT_Pin */
  GPIO_InitStruct.Pin = MII_INT_Pin;
  GPIO_InitStruct.Mode = GPIO_MODE_IT_RISING;
  GPIO_InitStruct.Pull = GPIO_NOPULL;
  HAL_GPIO_Init(MII_INT_GPIO_Port, &GPIO_InitStruct);

  /*Configure GPIO pins : PB_PlayPause_Pin PHY_RX_ERR_Pin */
  GPIO_InitStruct.Pin = PB_PlayPause_Pin|PHY_RX_ERR_Pin;
  GPIO_InitStruct.Mode = GPIO_MODE_INPUT;
  GPIO_InitStruct.Pull = GPIO_NOPULL;
  HAL_GPIO_Init(GPIOD, &GPIO_InitStruct);

  /*Configure GPIO pins : ADC_Switch_Pin LED_Red_Pin LED_Amber_Pin */
  GPIO_InitStruct.Pin = ADC_Switch_Pin|LED_Red_Pin|LED_Amber_Pin;
  GPIO_InitStruct.Mode = GPIO_MODE_OUTPUT_PP;
  GPIO_InitStruct.Pull = GPIO_NOPULL;
  GPIO_InitStruct.Speed = GPIO_SPEED_FREQ_LOW;
  HAL_GPIO_Init(GPIOD, &GPIO_InitStruct);

  /*Configure GPIO pins : PB_VolD_Pin PB_VolU_Pin PB_Next_Pin */
  GPIO_InitStruct.Pin = PB_VolD_Pin|PB_VolU_Pin|PB_Next_Pin;
  GPIO_InitStruct.Mode = GPIO_MODE_INPUT;
  GPIO_InitStruct.Pull = GPIO_NOPULL;
  HAL_GPIO_Init(GPIOA, &GPIO_InitStruct);

  /*Configure GPIO pin : PHY_Reset_Pin */
  GPIO_InitStruct.Pin = PHY_Reset_Pin;
  GPIO_InitStruct.Mode = GPIO_MODE_OUTPUT_PP;
  GPIO_InitStruct.Pull = GPIO_NOPULL;
  GPIO_InitStruct.Speed = GPIO_SPEED_FREQ_LOW;
  HAL_GPIO_Init(PHY_Reset_GPIO_Port, &GPIO_InitStruct);

  /*Configure GPIO pin : PB_Prev_Pin */
  GPIO_InitStruct.Pin = PB_Prev_Pin;
  GPIO_InitStruct.Mode = GPIO_MODE_INPUT;
  GPIO_InitStruct.Pull = GPIO_NOPULL;
  HAL_GPIO_Init(PB_Prev_GPIO_Port, &GPIO_InitStruct);

}

void _Error_Handler(char *file, int line)
{
  while(1)
  {
  }
}

/************************ (C) COPYRIGHT STMicroelectronics *****END OF FILE****/
